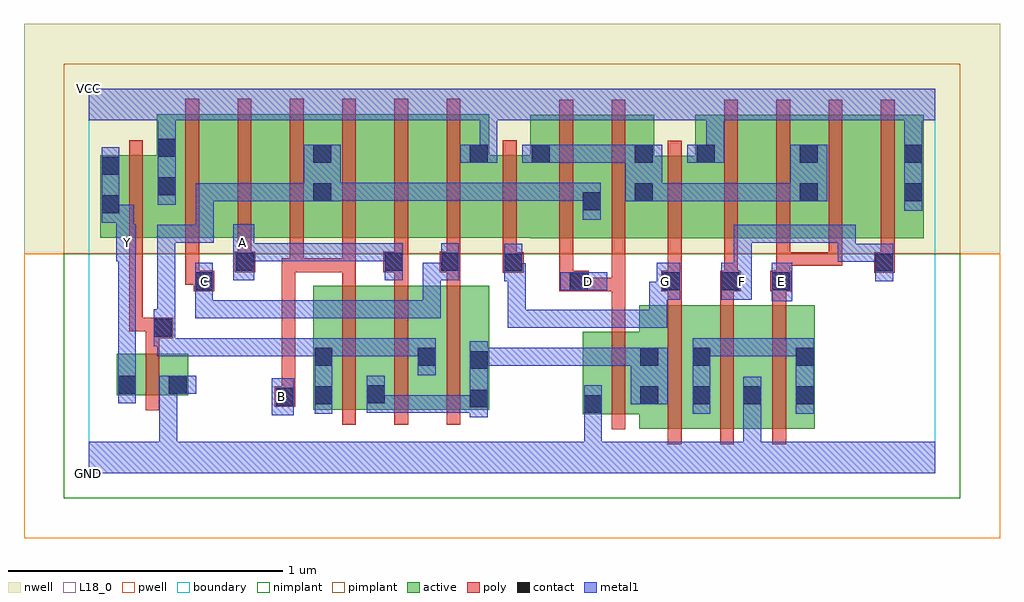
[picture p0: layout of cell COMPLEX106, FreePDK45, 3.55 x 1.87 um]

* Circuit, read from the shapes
.subckt COMPLEX106 A B C D E F G GND VCC Y
M1 GND n1 Y VSUBS nfet w=0.15u l=0.05u
M2 n2 B n1 VSUBS nfet w=0.45u l=0.05u
M3 n1 A n2 VSUBS nfet w=0.45u l=0.05u
M4 n2 C n1 VSUBS nfet w=0.45u l=0.05u
M5 n2 D GND VSUBS nfet w=0.3u l=0.05u
M6 n3 G n2 VSUBS nfet w=0.45u l=0.05u
M7 GND F n3 VSUBS nfet w=0.45u l=0.05u
M8 n3 E GND VSUBS nfet w=0.45u l=0.05u
M9 VCC n1 Y n4 pfet w=0.3u l=0.05u
M10 n5 C VCC n4 pfet w=0.45u l=0.05u
M11 n6 A n5 n4 pfet w=0.45u l=0.05u
M12 n1 B n6 n4 pfet w=0.45u l=0.05u
M13 n7 B n1 n4 pfet w=0.45u l=0.05u
M14 n8 A n7 n4 pfet w=0.45u l=0.05u
M15 VCC C n8 n4 pfet w=0.45u l=0.05u
M16 n9 G VCC n4 pfet w=0.3u l=0.05u m=2
M17 n1 D n9 n4 pfet w=0.45u l=0.05u m=2
M18 n10 F VCC n4 pfet w=0.45u l=0.05u
M19 n9 E n10 n4 pfet w=0.45u l=0.05u
M20 n11 E n9 n4 pfet w=0.45u l=0.05u
M21 VCC F n11 n4 pfet w=0.45u l=0.05u
.ends

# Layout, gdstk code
import gdstk
lib = gdstk.Library(unit=1e-6, precision=1e-09)
def R(c, l, rs):  # rectangles x0, y0, x1, y1
    for r in rs: c.add(gdstk.rectangle(r[:2], r[2:], *l))
def A(c, l, x, y, w, h, nx, ny, dx, dy):  # array of equal rectangles
    R(c, l, [(x+i*dx, y+j*dy, x+i*dx+w, y+j*dy+h) for i in range(nx) for j in range(ny)])
active = (1, 0)
pwell = (2, 0)
nwell = (3, 0)
nimplant = (4, 0)
pimplant = (5, 0)
poly = (9, 0)
contact = (10, 0)
metal1 = (11, 0)
L18_0 = (18, 0)
boundary = (235, 0)

complex106 = lib.new_cell('COMPLEX106')
R(complex106, active, [(2.002,0.162,2.267,0.612), (2.192,0.162,2.452,0.612), (2.377,0.162,2.642,0.612), (2.377,0.162,2.452,0.542), (2.002,0.2,2.077,0.515), (2.192,0.2,2.267,0.542), (2.567,0.2,2.642,0.612), (1.797,0.215,2.077,0.515), (1.797,0.215,1.872,0.417), (0.817,0.232,1.082,0.682), (0.817,0.232,0.892,0.682), (1.007,0.232,1.267,0.682), (1.007,0.232,1.082,0.542), (1.192,0.232,1.457,0.682), (1.382,0.232,1.457,0.682), (0.102,0.285,0.177,0.435), (0.102,0.285,0.362,0.435), (0.287,0.285,0.362,0.435), (1.192,0.295,1.267,0.542), (1.607,0.855,1.867,1.305), (1.792,0.855,2.057,1.305), (1.792,0.855,1.867,1.07), (1.982,0.855,2.282,1.155), (2.207,0.855,2.432,1.305), (2.432,0.855,2.657,1.305), (2.582,0.855,2.812,1.305), (2.582,0.855,2.657,1.2), (2.812,0.855,3.037,1.305), (2.962,0.855,3.037,1.305), (0.042,0.857,0.322,1.157), (0.042,0.857,0.117,1.157), (0.247,0.857,0.472,1.307), (0.247,0.857,0.322,1.222), (0.472,0.857,0.662,1.307), (0.662,0.857,0.887,1.307), (0.812,0.857,1.042,1.307), (0.812,0.857,0.887,1.2), (1.042,0.857,1.232,1.307), (1.232,0.857,1.457,1.307), (1.382,0.857,1.682,1.157), (1.382,0.857,1.457,1.2), (1.607,0.857,1.682,1.2), (1.982,0.985,2.057,1.2), (2.207,1.007,2.282,1.305)])
R(complex106, pwell, [(-0.235,-0.235,3.315,0.8)])
R(complex106, nwell, [(-0.235,0.8,3.315,1.635)])
R(complex106, nimplant, [(-0.09,-0.09,3.17,0.8)])
R(complex106, pimplant, [(-0.09,0.8,3.17,1.49)])
A(complex106, poly, 2.107, 0.107, 0.05, 0.56, 3, 1, 0.19, 0)
A(complex106, poly, 0.922, 0.177, 0.05, 0.56, 3, 1, 0.19, 0)
A(complex106, poly, 2.107, 0.617, 0.05, 0.095, 3, 1, 0.19, 0)
A(complex106, poly, 0.922, 0.687, 0.05, 0.095, 3, 1, 0.19, 0)
A(complex106, poly, 2.502, 0.755, 0.05, 0.095, 3, 1, 0.19, 0)
A(complex106, poly, 2.312, 0.8, 0.05, 0.56, 4, 1, 0.19, 0)
A(complex106, poly, 0.352, 0.802, 0.05, 0.56, 6, 1, 0.19, 0)
R(complex106, poly, [(1.902,0.16,1.952,0.57), (0.207,0.23,0.257,0.49), (0.677,0.242,0.752,0.317), (0.702,0.267,0.752,0.782), (0.207,0.44,0.257,0.542), (0.207,0.492,0.307,0.567), (0.147,0.517,0.197,0.852), (0.147,0.517,0.257,0.567), (0.207,0.517,0.257,0.567), (1.902,0.52,1.952,0.712), (0.382,0.662,0.457,0.737), (1.712,0.662,1.82,0.737), (1.77,0.662,1.82,0.712), (1.77,0.662,1.82,0.712), (1.77,0.662,1.952,0.712), (1.902,0.662,1.952,0.712), (1.902,0.662,1.952,0.712), (1.902,0.662,1.952,0.712), (1.902,0.662,1.952,0.85), (2.082,0.662,2.157,0.737), (2.297,0.662,2.372,0.737), (2.297,0.662,2.347,0.712), (2.297,0.662,2.347,0.712), (2.48,0.662,2.555,0.737), (0.352,0.687,0.432,0.737), (0.352,0.687,0.402,0.852), (0.382,0.687,0.432,0.737), (1.712,0.687,1.762,0.85), (2.107,0.687,2.157,0.737), (2.107,0.687,2.157,0.737), (2.107,0.687,2.157,0.85), (2.312,0.687,2.362,0.85), (2.502,0.687,2.552,0.805), (1.507,0.73,1.582,0.805), (2.857,0.73,2.932,0.805), (0.532,0.732,0.607,0.807), (0.702,0.732,0.752,0.782), (0.702,0.732,0.752,0.782), (0.702,0.732,0.752,0.782), (0.702,0.732,0.752,0.782), (0.702,0.732,0.782,0.782), (0.732,0.732,0.972,0.782), (0.732,0.732,0.782,0.852), (0.922,0.732,0.972,0.782), (0.922,0.732,0.972,0.782), (0.922,0.732,0.972,0.782), (0.922,0.732,0.972,0.782), (0.922,0.732,0.972,0.782), (0.922,0.732,0.972,0.852), (1.072,0.732,1.162,0.807), (1.112,0.732,1.162,0.782), (1.112,0.732,1.162,0.782), (1.277,0.732,1.352,0.807), (1.507,0.755,1.557,0.805), (1.507,0.755,1.557,0.805), (1.507,0.755,1.557,0.852), (2.502,0.755,2.742,0.805), (2.502,0.755,2.552,0.805), (2.502,0.755,2.552,0.805), (2.502,0.755,2.552,0.805), (2.692,0.755,2.742,0.805), (0.542,0.757,0.592,0.852), (1.112,0.757,1.162,0.852), (1.302,0.757,1.352,0.852), (1.302,0.757,1.352,0.807), (1.302,0.757,1.352,0.807), (1.712,0.8,1.762,1.36), (1.902,0.8,1.952,1.36), (2.107,0.8,2.157,1.21), (0.147,0.802,0.197,1.212), (1.507,0.802,1.557,1.212)])
R(complex106, contact, [(1.802,0.22,1.867,0.285), (1.387,0.24,1.452,0.305), (0.682,0.247,0.747,0.312), (0.822,0.252,0.887,0.317), (2.007,0.252,2.072,0.317), (2.197,0.252,2.262,0.317), (2.382,0.252,2.447,0.317), (2.572,0.252,2.637,0.317), (1.012,0.255,1.077,0.32), (0.107,0.29,0.172,0.355), (0.292,0.29,0.357,0.355), (1.387,0.38,1.452,0.445), (0.822,0.392,0.887,0.457), (1.197,0.392,1.262,0.457), (2.007,0.392,2.072,0.457), (2.197,0.392,2.262,0.457), (2.572,0.392,2.637,0.457), (0.237,0.497,0.302,0.562), (0.387,0.667,0.452,0.732), (1.75,0.667,1.815,0.732), (2.087,0.667,2.152,0.732), (2.302,0.667,2.367,0.732), (2.485,0.667,2.55,0.732), (1.512,0.735,1.577,0.8), (2.862,0.735,2.927,0.8), (0.537,0.737,0.602,0.802), (1.077,0.737,1.142,0.802), (1.282,0.737,1.347,0.802), (0.047,0.947,0.112,1.012), (1.797,0.957,1.862,1.022), (0.817,0.99,0.882,1.055), (1.987,0.99,2.052,1.055), (2.587,0.99,2.652,1.055), (2.967,0.99,3.032,1.055), (0.252,1.012,0.317,1.077), (0.047,1.087,0.112,1.152), (0.817,1.13,0.882,1.195), (1.387,1.13,1.452,1.195), (1.612,1.13,1.677,1.195), (1.987,1.13,2.052,1.195), (2.212,1.13,2.277,1.195), (2.587,1.13,2.652,1.195), (2.967,1.13,3.032,1.195), (0.252,1.152,0.317,1.217)])
R(complex106, metal1, [(0,0,3.08,0.115), (0.257,0.05,0.322,0.115), (0.257,0.05,0.322,0.115), (0.257,0.05,0.322,0.115), (0.257,0.05,0.322,0.115), (0.257,0.05,0.322,0.355), (1.802,0.05,1.867,0.115), (1.802,0.05,1.867,0.115), (1.802,0.05,1.867,0.25), (2.382,0.05,2.447,0.282), (1.802,0.185,1.867,0.32), (1.802,0.185,1.867,0.25), (1.802,0.185,1.867,0.25), (1.387,0.205,1.452,0.48), (0.667,0.212,0.747,0.347), (0.822,0.217,0.887,0.492), (2.197,0.217,2.262,0.492), (2.382,0.217,2.447,0.352), (2.382,0.217,2.447,0.282), (2.382,0.217,2.447,0.282), (2.572,0.217,2.637,0.492), (1.012,0.22,1.077,0.355), (1.012,0.22,1.142,0.285), (1.077,0.22,1.142,0.285), (1.077,0.22,1.28,0.285), (1.215,0.22,1.28,0.285), (1.215,0.22,1.28,0.285), (1.215,0.22,1.28,0.285), (1.215,0.22,1.452,0.285), (1.972,0.252,2.107,0.457), (0.107,0.255,0.172,0.39), (0.257,0.29,0.322,0.355), (0.257,0.29,0.322,0.355), (0.257,0.29,0.392,0.355), (0.107,0.325,0.172,0.837), (1.197,0.357,1.262,0.492), (1.387,0.392,1.452,0.457), (1.387,0.392,1.452,0.457), (1.387,0.392,1.452,0.457), (1.387,0.392,1.715,0.457), (1.387,0.392,1.452,0.48), (1.65,0.392,1.715,0.457), (1.65,0.392,1.715,0.457), (1.65,0.392,1.715,0.457), (1.65,0.392,1.88,0.457), (1.815,0.392,1.88,0.457), (1.815,0.392,1.88,0.457), (1.815,0.392,1.88,0.457), (1.815,0.392,2.037,0.457), (0.25,0.427,0.452,0.492), (0.25,0.427,0.315,0.492), (0.25,0.427,0.315,0.527), (0.387,0.427,0.452,0.492), (0.387,0.427,0.452,0.492), (0.387,0.427,0.452,0.492), (0.387,0.427,0.595,0.492), (0.53,0.427,0.595,0.492), (0.53,0.427,0.595,0.492), (0.53,0.427,0.595,0.492), (0.53,0.427,0.74,0.492), (0.675,0.427,0.74,0.492), (0.675,0.427,0.887,0.492), (0.822,0.427,0.985,0.492), (0.92,0.427,0.985,0.492), (0.92,0.427,1.125,0.492), (1.06,0.427,1.262,0.492), (1.06,0.427,1.125,0.492), (1.06,0.427,1.125,0.492), (1.06,0.427,1.125,0.492), (2.197,0.427,2.262,0.492), (2.197,0.427,2.262,0.492), (2.197,0.427,2.4,0.492), (2.335,0.427,2.4,0.492), (2.335,0.427,2.637,0.492), (2.572,0.427,2.637,0.492), (2.572,0.427,2.637,0.492), (0.237,0.462,0.302,0.597), (0.237,0.462,0.315,0.527), (0.25,0.462,0.315,0.527), (0.25,0.462,0.315,0.905), (1.525,0.53,1.715,0.595), (1.525,0.53,1.59,0.765), (1.65,0.53,1.852,0.595), (1.65,0.53,1.715,0.595), (1.787,0.53,1.852,0.595), (1.787,0.53,1.852,0.595), (1.787,0.53,1.852,0.595), (1.787,0.53,2.105,0.595), (2.04,0.53,2.105,0.697), (0.387,0.565,0.595,0.63), (0.387,0.565,0.452,0.697), (0.53,0.565,0.595,0.63), (0.53,0.565,0.595,0.63), (0.53,0.565,0.595,0.63), (0.53,0.565,0.74,0.63), (0.675,0.565,0.74,0.63), (0.675,0.565,0.74,0.63), (0.675,0.565,0.74,0.63), (0.675,0.565,0.987,0.63), (0.922,0.565,0.987,0.63), (0.922,0.565,1.125,0.63), (1.06,0.565,1.125,0.63), (1.06,0.565,1.125,0.63), (1.06,0.565,1.125,0.63), (1.06,0.565,1.28,0.63), (1.215,0.565,1.28,0.767), (2.485,0.627,2.56,0.767), (0.387,0.632,0.452,0.767), (0.387,0.632,0.452,0.697), (2.04,0.632,2.132,0.697), (2.067,0.632,2.152,0.767), (2.302,0.632,2.412,0.767), (1.715,0.667,1.887,0.732), (1.512,0.7,1.577,0.835), (1.512,0.7,1.59,0.765), (2.862,0.7,2.927,0.835), (0.527,0.702,0.602,0.907), (1.077,0.702,1.142,0.837), (1.215,0.702,1.347,0.767), (1.282,0.702,1.347,0.837), (2.347,0.702,2.412,0.767), (2.347,0.702,2.412,0.905), (2.725,0.77,2.927,0.835), (2.725,0.77,2.79,0.87), (0.1,0.772,0.172,0.907), (0.537,0.772,0.602,0.837), (0.537,0.772,0.602,0.837), (0.537,0.772,0.74,0.837), (0.675,0.772,0.74,0.837), (0.675,0.772,0.74,0.837), (0.675,0.772,0.74,0.837), (0.675,0.772,0.987,0.837), (0.922,0.772,0.987,0.837), (0.922,0.772,1.055,0.837), (0.99,0.772,1.055,0.837), (0.99,0.772,1.142,0.837), (2.725,0.805,2.79,0.87), (2.725,0.805,2.79,0.905), (0.25,0.84,0.315,0.905), (0.25,0.84,0.455,0.905), (0.39,0.84,0.455,0.905), (0.39,0.84,0.455,0.905), (0.39,0.84,0.455,0.905), (0.39,0.84,0.455,1.055), (2.347,0.84,2.55,0.905), (2.485,0.84,2.55,0.905), (2.485,0.84,2.55,0.905), (2.485,0.84,2.55,0.905), (2.485,0.84,2.79,0.905), (0.1,0.842,0.165,0.977), (0.047,0.912,0.112,1.187), (0.047,0.912,0.112,0.977), (0.047,0.912,0.165,0.977), (1.797,0.922,1.862,1.057), (2.967,0.955,3.032,1.23), (0.252,0.977,0.317,1.252), (0.39,0.99,0.455,1.055), (0.39,0.99,0.595,1.055), (0.53,0.99,0.595,1.055), (0.53,0.99,0.595,1.055), (0.53,0.99,0.595,1.055), (0.53,0.99,0.847,1.055), (0.782,0.99,0.847,1.055), (0.782,0.99,0.847,1.055), (0.782,0.99,0.917,1.195), (1.952,0.99,2.087,1.195), (2.022,0.99,2.087,1.055), (2.022,0.99,2.087,1.055), (2.022,0.99,2.087,1.055), (2.022,0.99,2.087,1.055), (2.022,0.99,2.262,1.055), (2.197,0.99,2.262,1.055), (2.197,0.99,2.262,1.055), (2.197,0.99,2.262,1.055), (2.197,0.99,2.412,1.055), (2.347,0.99,2.412,1.055), (2.347,0.99,2.617,1.055), (2.552,0.99,2.617,1.055), (2.552,0.99,2.617,1.055), (2.552,0.99,2.687,1.195), (0.852,0.992,0.985,1.057), (0.92,0.992,0.985,1.057), (0.92,0.992,1.125,1.057), (1.06,0.992,1.125,1.057), (1.06,0.992,1.125,1.057), (1.06,0.992,1.125,1.057), (1.06,0.992,1.28,1.057), (1.215,0.992,1.28,1.057), (1.215,0.992,1.28,1.057), (1.215,0.992,1.28,1.057), (1.215,0.992,1.452,1.057), (1.387,0.992,1.452,1.057), (1.387,0.992,1.452,1.057), (1.387,0.992,1.452,1.057), (1.387,0.992,1.715,1.057), (1.65,0.992,1.715,1.057), (1.65,0.992,1.715,1.057), (1.65,0.992,1.715,1.057), (1.65,0.992,1.862,1.057), (1.352,1.13,1.487,1.195), (1.422,1.13,1.487,1.35), (1.577,1.13,1.712,1.195), (1.647,1.13,1.715,1.195), (1.65,1.13,1.852,1.195), (1.65,1.13,1.715,1.195), (1.787,1.13,1.852,1.195), (1.787,1.13,1.852,1.195), (1.787,1.13,1.852,1.195), (1.787,1.13,2.017,1.195), (2.177,1.13,2.312,1.195), (2.247,1.13,2.312,1.35), (2.967,1.165,3.032,1.35), (0.252,1.187,0.317,1.35), (0,1.285,3.08,1.4)])
A(complex106, L18_0, 1.787, 0.667, 0.065, 0.065, 3, 1, 0.28, 0)
R(complex106, L18_0, [(0,0,3.08,0.115), (0.257,0.05,0.322,0.115), (0.257,0.05,0.322,0.115), (0.257,0.05,0.322,0.115), (0.257,0.05,0.322,0.115), (0.257,0.05,0.322,0.355), (1.802,0.05,1.867,0.115), (1.802,0.05,1.867,0.115), (1.802,0.05,1.867,0.25), (2.382,0.05,2.447,0.282), (1.802,0.185,1.867,0.32), (1.802,0.185,1.867,0.25), (1.802,0.185,1.867,0.25), (0.667,0.212,0.747,0.347), (2.382,0.217,2.447,0.352), (2.382,0.217,2.447,0.282), (2.382,0.217,2.447,0.282), (0.667,0.247,0.732,0.312), (0.107,0.255,0.172,0.39), (0.257,0.29,0.322,0.355), (0.257,0.29,0.322,0.355), (0.257,0.29,0.392,0.355), (0.107,0.325,0.172,0.837), (1.525,0.53,1.59,0.765), (1.525,0.53,1.715,0.595), (1.65,0.53,1.715,0.595), (1.65,0.53,1.852,0.595), (1.787,0.53,1.852,0.595), (1.787,0.53,1.852,0.595), (1.787,0.53,1.852,0.595), (1.787,0.53,2.105,0.595), (2.04,0.53,2.105,0.697), (0.387,0.565,0.452,0.697), (0.387,0.565,0.595,0.63), (0.53,0.565,0.595,0.63), (0.53,0.565,0.595,0.63), (0.53,0.565,0.595,0.63), (0.53,0.565,0.74,0.63), (0.675,0.565,0.74,0.63), (0.675,0.565,0.74,0.63), (0.675,0.565,0.74,0.63), (0.675,0.565,0.987,0.63), (0.922,0.565,0.987,0.63), (0.922,0.565,1.125,0.63), (1.06,0.565,1.125,0.63), (1.06,0.565,1.125,0.63), (1.06,0.565,1.125,0.63), (1.06,0.565,1.28,0.63), (1.215,0.565,1.28,0.767), (2.485,0.627,2.56,0.767), (0.387,0.632,0.452,0.767), (0.387,0.632,0.452,0.697), (2.04,0.632,2.132,0.697), (2.067,0.632,2.152,0.767), (2.302,0.632,2.412,0.767), (0.387,0.667,0.452,0.732), (1.715,0.667,1.887,0.732), (2.487,0.667,2.552,0.732), (1.512,0.7,1.577,0.835), (1.512,0.7,1.59,0.765), (2.862,0.7,2.927,0.835), (0.527,0.702,0.602,0.907), (1.077,0.702,1.142,0.837), (1.215,0.702,1.347,0.767), (1.282,0.702,1.347,0.837), (2.347,0.702,2.412,0.767), (2.347,0.702,2.412,0.905), (2.725,0.77,2.927,0.835), (2.725,0.77,2.79,0.87), (0.1,0.772,0.172,0.907), (0.537,0.772,0.602,0.837), (0.537,0.772,0.602,0.837), (0.537,0.772,0.74,0.837), (0.675,0.772,0.74,0.837), (0.675,0.772,0.74,0.837), (0.675,0.772,0.74,0.837), (0.675,0.772,0.987,0.837), (0.922,0.772,0.987,0.837), (0.922,0.772,1.055,0.837), (0.99,0.772,1.055,0.837), (0.99,0.772,1.142,0.837), (2.725,0.805,2.79,0.87), (2.725,0.805,2.79,0.905), (0.107,0.807,0.172,0.872), (0.527,0.807,0.592,0.872), (2.347,0.84,2.55,0.905), (2.485,0.84,2.55,0.905), (2.485,0.84,2.55,0.905), (2.485,0.84,2.55,0.905), (2.485,0.84,2.79,0.905), (0.1,0.842,0.165,0.977), (0.047,0.912,0.165,0.977), (0.047,0.912,0.112,1.187), (0.047,0.912,0.112,0.977), (2.967,0.955,3.032,1.23), (0.252,0.977,0.317,1.252), (1.352,1.13,1.487,1.195), (1.422,1.13,1.487,1.35), (2.177,1.13,2.312,1.195), (2.247,1.13,2.312,1.35), (2.967,1.165,3.032,1.35), (0.252,1.187,0.317,1.35), (0,1.285,3.08,1.4)])
R(complex106, boundary, [(0,0,3.08,1.4)])
complex106.add(gdstk.Label('A', (0.56,0.84), layer=11, texttype=0))
complex106.add(gdstk.Label('B', (0.7,0.28), layer=11, texttype=0))
complex106.add(gdstk.Label('C', (0.42,0.7), layer=11, texttype=0))
complex106.add(gdstk.Label('D', (1.82,0.7), layer=11, texttype=0))
complex106.add(gdstk.Label('E', (2.52,0.7), layer=11, texttype=0))
complex106.add(gdstk.Label('F', (2.38,0.7), layer=11, texttype=0))
complex106.add(gdstk.Label('G', (2.1,0.7), layer=11, texttype=0))
complex106.add(gdstk.Label('Y', (0.14,0.84), layer=11, texttype=0))
complex106.add(gdstk.Label('VCC', (0,1.4), layer=11, texttype=0))
complex106.add(gdstk.Label('GND', (0,0), layer=11, texttype=0))

lib.write_gds('COMPLEX106.gds')
